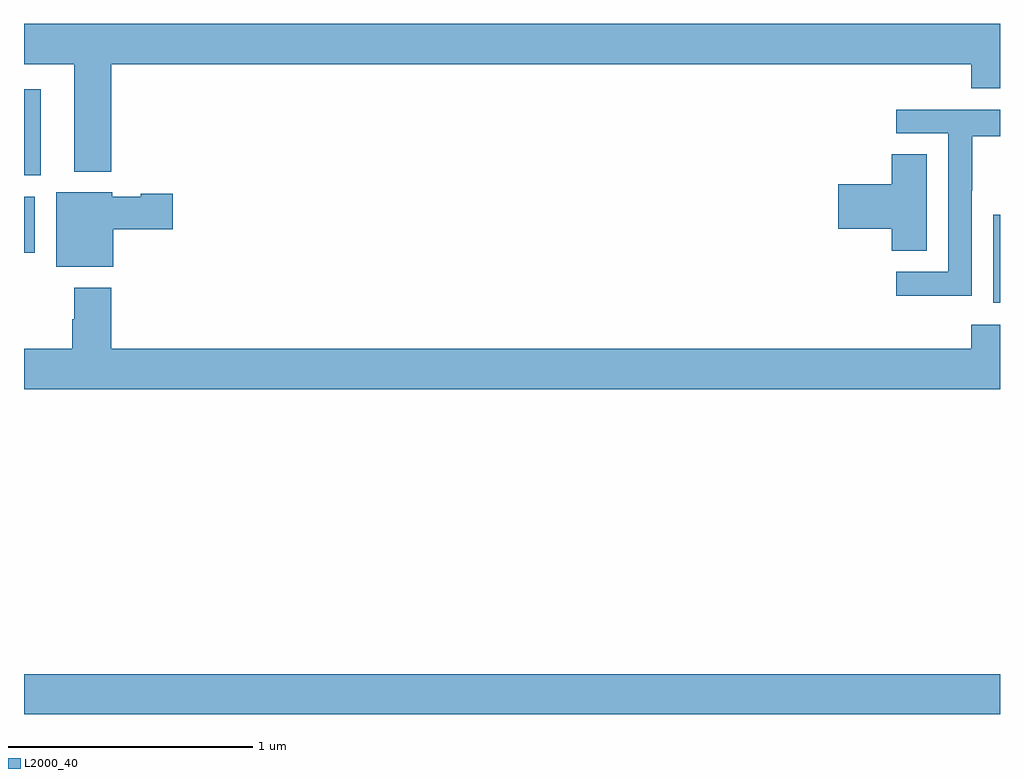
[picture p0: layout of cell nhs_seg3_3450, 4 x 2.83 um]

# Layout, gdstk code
import gdstk
lib = gdstk.Library(unit=1e-6, precision=1e-09)
def R(c, l, rs):  # rectangles x0, y0, x1, y1
    for r in rs: c.add(gdstk.rectangle(r[:2], r[2:], *l))
def P(c, l, *ps):  # polygons
    for p in ps: c.add(gdstk.Polygon(p, *l))
L2000_40 = (2000, 40)

nhs_seg3_3450 = lib.new_cell('nhs_seg3_3450')
R(nhs_seg3_3450, L2000_40, [(289,743.54,293,743.704), (292.973,745.226,293,745.587), (289,745.43,289.045,745.66), (289,745.748,289.069,746.101)])
P(nhs_seg3_3450, L2000_40, [(289.358,746.204),(292.883,746.204),(292.883,746.105),(293,746.105),(293,746.368),(289,746.368),(289,746.204),(289.205,746.204),(289.205,745.763),(289.358,745.763)],
  [(292.884,745.684),(292.887,745.684),(292.887,745.908),(293,745.908),(293,746.016),(292.575,746.016),(292.575,745.92),(292.788,745.92),(292.788,745.353),(292.575,745.353),(292.575,745.255),(292.884,745.255)],
  [(292.699,745.835),(292.556,745.835),(292.556,745.712),(292.338,745.712),(292.338,745.529),(292.556,745.529),(292.556,745.438),(292.699,745.438)],
  [(289.366,745.526),(289.609,745.526),(289.609,745.673),(289.479,745.673),(289.479,745.66),(289.362,745.66),(289.362,745.678),(289.133,745.678),(289.133,745.373),(289.366,745.373)],
  [(293,745.135),(292.883,745.135),(292.883,745.036),(289.358,745.036),(289.358,745.288),(289.205,745.288),(289.205,745.157),(289.198,745.157),(289.198,745.036),(289,745.036),(289,744.872),(293,744.872)])

lib.write_gds('nhs_seg3_3450.gds')
